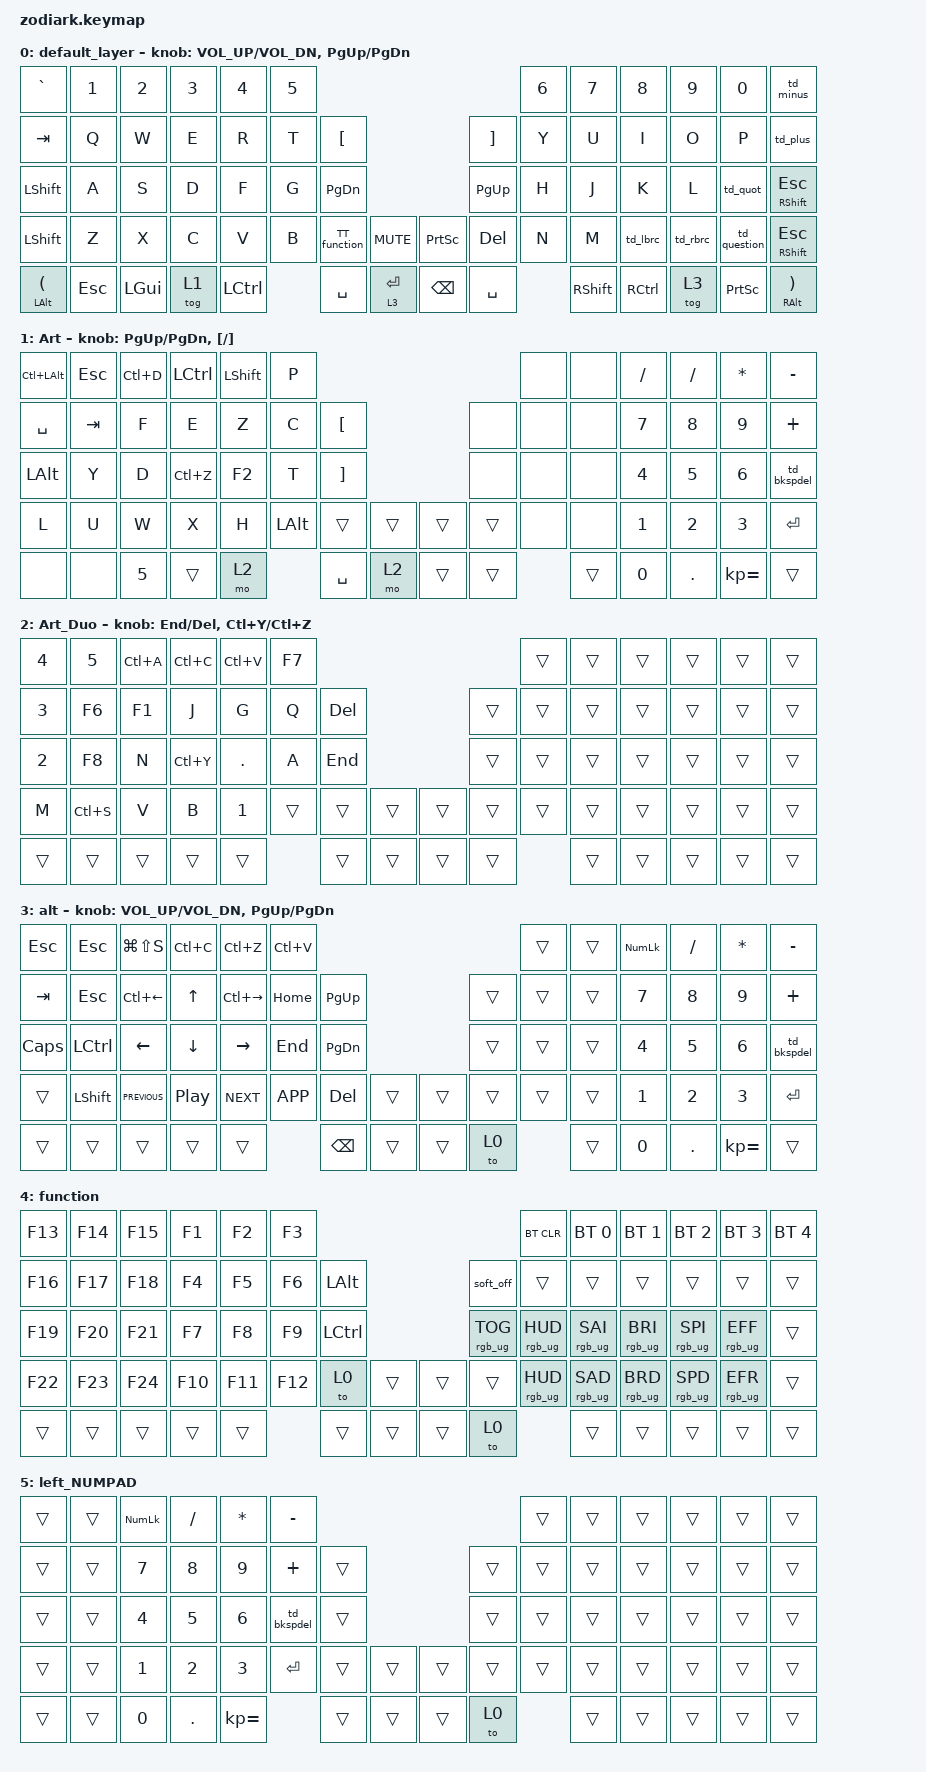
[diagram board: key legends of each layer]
/*
 * Copyright (c) 2020 The ZMK Contributors
 *
 * SPDX-License-Identifier: MIT
 */

#include <behaviors.dtsi>
#include <dt-bindings/zmk/bt.h>
#include <dt-bindings/zmk/keys.h>
#include <dt-bindings/zmk/rgb.h>

/ {
    combos {
        compatible = "zmk,combos";

        bkspDEL {
            bindings = <&kp DELETE>;
            key-positions = <64 63>;
        };

        leftNUMPAD {
            bindings = <&tog 4>;
            key-positions = <61 60>;
        };
    };

    behaviors {
        td_quot: td_quot {
            compatible = "zmk,behavior-tap-dance";
            label = "TD_QUOT";
            #binding-cells = <0>;
            bindings = <&kp SINGLE_QUOTE>, <&kp SEMICOLON>;

            tapping-term-ms = <150>;
        };

        td_lbrc: td_lbrc {
            compatible = "zmk,behavior-tap-dance";
            label = "TD_LBRC";
            #binding-cells = <0>;
            bindings = <&kp COMMA>, <&kp LEFT_BRACKET>;

            tapping-term-ms = <150>;
        };

        td_rbrc: td_rbrc {
            compatible = "zmk,behavior-tap-dance";
            label = "TD_RBRC";
            #binding-cells = <0>;
            bindings = <&kp PERIOD>, <&kp RIGHT_BRACKET>;

            tapping-term-ms = <150>;
        };

        td_minus: td_minus {
            compatible = "zmk,behavior-tap-dance";
            label = "TD_MINUS";
            #binding-cells = <0>;
            bindings = <&kp MINUS>, <&kp KP_DIVIDE>;

            tapping-term-ms = <150>;
        };

        td_plus: td_plus {
            compatible = "zmk,behavior-tap-dance";
            label = "TD_PLUS";
            #binding-cells = <0>;
            bindings = <&kp EQUAL>, <&kp KP_PLUS>;

            tapping-term-ms = <150>;
        };

        td_question: td_question {
            compatible = "zmk,behavior-tap-dance";
            label = "TD_QUESTION";
            #binding-cells = <0>;
            bindings = <&kp SLASH>, <&kp BACKSLASH>;

            tapping-term-ms = <150>;
        };

        TT_function: TT_function {
            compatible = "zmk,behavior-tap-dance";
            label = "TT_FUNCTION";
            #binding-cells = <0>;
            bindings = <&mo 4>, <&tog 4>;
        };

        td_bkspdel: td_bkspdel {
            compatible = "zmk,behavior-tap-dance";
            label = "TD_BKSPDEL";
            #binding-cells = <0>;
            bindings = <&kp BACKSPACE>, <&kp DELETE>;

            tapping-term-ms = <150>;
        };
    };

    keymap {
        compatible = "zmk,keymap";

        default_layer {
            // ------------------------------------------------------------------------------------------------------------
            // |  ESC  |  1  |  2  |  3   |  4   |  5   |                                  |  6   |  7    |  8    |  9   |   0   | BKSPC |
            // |  TAB  |  Q  |  W  |  E   |  R   |  T   |   [    |                 |   ]   |  Y   |  U    |  I    |  O   |   P   |   \   |
            // |  CAPS |  A  |  S  |  D   |  F   |  G   |   -    |                 |   =   |  H   |  J    |  K    |  L   |   ;   |   '   |
            // | SHIFT |  Z  |  X  |  C   |  V   |  B   |   `    | MUTE  | | PRNT  |  DEL  |  N   |  M    |  ,    |  .   |   /   | ENTER |
            // | CTRL  | ALT | GUI | MENU | LOWER|     SPACE     | ENTER | | ENTER |    SPACE     | RAISE| LEFT  | DOWN  |  UP   | RIGHT |

            bindings = <
&kp GRAVE                  &kp N1   &kp N2    &kp N3  &kp N4     &kp N5                                                     &kp N6  &kp N7     &kp N8     &kp N9    &kp N0           &td_minus
&kp TAB                    &kp Q    &kp W     &kp E   &kp R      &kp T   &kp LBKT                                &kp RBKT   &kp Y   &kp U      &kp I      &kp O     &kp P            &td_plus
&kp LSHFT                  &kp A    &kp S     &kp D   &kp F      &kp G   &kp PG_DN                               &kp PG_UP  &kp H   &kp J      &kp K      &kp L     &td_quot         &mt RIGHT_SHIFT ESCAPE
&kp LSHFT                  &kp Z    &kp X     &kp C   &kp V      &kp B   &TT_function  &kp C_MUTE     &kp PSCRN  &kp DEL    &kp N   &kp M      &td_lbrc   &td_rbrc  &td_question     &mt RIGHT_SHIFT ESC
&mt LALT LEFT_PARENTHESIS  &kp ESC  &kp LGUI  &tog 1  &kp LCTRL          &kp SPACE     &lt 3 ENTER    &kp BSPC   &kp SPACE          &kp RSHFT  &kp RCTRL  &tog 3    &kp PRINTSCREEN  &mt RIGHT_ALT RIGHT_PARENTHESIS
            >;

            sensor-bindings = <&inc_dec_kp C_VOL_UP C_VOL_DN &inc_dec_kp PG_UP PG_DN>;
        };

        Art {
            bindings = <
&kp LC(LALT)  &kp ESC  &kp LC(D)  &kp LCTRL  &kp LSHFT  &kp P                                          &none  &none   &kp FSLH  &kp FSLH  &kp STAR      &kp MINUS
&kp SPACE     &kp TAB  &kp F      &kp E      &kp Z      &kp C     &kp LBKT                     &none   &none  &none   &kp N7    &kp N8    &kp N9        &kp PLUS
&kp LALT      &kp Y    &kp D      &kp LC(Z)  &kp F2     &kp T     &kp RBKT                     &none   &none  &none   &kp N4    &kp N5    &kp N6        &td_bkspdel
&kp L         &kp U    &kp W      &kp X      &kp H      &kp LALT  &trans     &trans    &trans  &trans  &none  &none   &kp N1    &kp N2    &kp N3        &kp RET
&none         &none    &kp N5     &trans     &mo 2                &kp SPACE  &mo 2     &trans  &trans         &trans  &kp N0    &kp DOT   &kp KP_EQUAL  &trans
            >;

            sensor-bindings =
                <&inc_dec_kp PG_UP PAGE_DOWN>,
                <&inc_dec_kp LEFT_BRACKET RIGHT_BRACKET>;
        };

        Art_Duo {
            bindings = <
&kp N4  &kp N5     &kp LC(A)  &kp LC(C)  &kp LC(V)  &kp F7                                     &trans  &trans  &trans  &trans  &trans  &trans
&kp N3  &kp F6     &kp F1     &kp J      &kp G      &kp Q   &kp DEL                    &trans  &trans  &trans  &trans  &trans  &trans  &trans
&kp N2  &kp F8     &kp N      &kp LC(Y)  &kp DOT    &kp A   &kp END                    &trans  &trans  &trans  &trans  &trans  &trans  &trans
&kp M   &kp LC(S)  &kp V      &kp B      &kp N1     &trans  &trans   &trans    &trans  &trans  &trans  &trans  &trans  &trans  &trans  &trans
&trans  &trans     &trans     &trans     &trans             &trans   &trans    &trans  &trans          &trans  &trans  &trans  &trans  &trans
            >;

            sensor-bindings =
                <&inc_dec_kp END DELETE>,
                <&inc_dec_kp LC(Y) LC(Z)>;
        };

        alt {
            // ------------------------------------------------------------------------------------------------------------
            // |BTCLR  | BT1 | BT2 |  BT3 |  BT4 |  BT5 |                                  |      |       |       |      |       | RESET |
            // |       |     |     |      |      |      |        |                 |       |      |       |       |      |       |BLOADER|
            // |       |     |     |      |      |      |        |                 |       |      |       |       |      |       |       |
            // |       |     |     |      |      |      |        |       | |       |       |      |       |       |      |       |       |
            // |       |     |     |      |      |               |       | |       |              |       |       |      |       |       |

            bindings = <
&kp ESC   &kp ESC    &kp LG(LS(S))   &kp LC(C)         &kp LC(Z)      &kp LC(V)                                           &trans  &trans  &kp KP_NUMLOCK  &kp FSLH  &kp STAR      &kp MINUS
&kp TAB   &kp ESC    &kp LC(LEFT)    &kp UP            &kp LC(RIGHT)  &kp HOME   &kp PG_UP                        &trans  &trans  &trans  &kp N7          &kp N8    &kp N9        &kp PLUS
&kp CAPS  &kp LCTRL  &kp LEFT        &kp DOWN          &kp RIGHT      &kp END    &kp PAGE_DOWN                    &trans  &trans  &trans  &kp N4          &kp N5    &kp N6        &td_bkspdel
&trans    &kp LSHFT  &kp C_PREVIOUS  &kp C_PLAY_PAUSE  &kp C_NEXT     &kp K_APP  &kp DEL        &trans    &trans  &trans  &trans  &trans  &kp N1          &kp N2    &kp N3        &kp RET
&trans    &trans     &trans          &trans            &trans                    &kp BSPC       &trans    &trans  &to 0           &trans  &kp N0          &kp DOT   &kp KP_EQUAL  &trans
            >;

            sensor-bindings = <&inc_dec_kp C_VOL_UP C_VOL_DN &inc_dec_kp PG_UP PG_DN>;
        };

        function {
            bindings = <
&kp F13  &kp F14  &kp F15  &kp F1   &kp F2   &kp F3                                                        &bt BT_CLR       &bt BT_SEL 0     &bt BT_SEL 1     &bt BT_SEL 2     &bt BT_SEL 3     &bt BT_SEL 4
&kp F16  &kp F17  &kp F18  &kp F4   &kp F5   &kp F6   &kp LEFT_ALT                        &soft_off        &trans           &trans           &trans           &trans           &trans           &trans
&kp F19  &kp F20  &kp F21  &kp F7   &kp F8   &kp F9   &kp LEFT_CONTROL                    &rgb_ug RGB_TOG  &rgb_ug RGB_HUD  &rgb_ug RGB_SAI  &rgb_ug RGB_BRI  &rgb_ug RGB_SPI  &rgb_ug RGB_EFF  &trans
&kp F22  &kp F23  &kp F24  &kp F10  &kp F11  &kp F12  &to 0             &trans    &trans  &trans           &rgb_ug RGB_HUD  &rgb_ug RGB_SAD  &rgb_ug RGB_BRD  &rgb_ug RGB_SPD  &rgb_ug RGB_EFR  &trans
&trans   &trans   &trans   &trans   &trans            &trans            &trans    &trans  &to 0                             &trans           &trans           &trans           &trans           &trans
            >;
        };

        left_NUMPAD {
            bindings = <
&trans  &trans  &kp KP_NUMLOCK  &kp FSLH  &kp STAR      &kp MINUS                                      &trans  &trans  &trans  &trans  &trans  &trans
&trans  &trans  &kp N7          &kp N8    &kp N9        &kp PLUS     &trans                    &trans  &trans  &trans  &trans  &trans  &trans  &trans
&trans  &trans  &kp N4          &kp N5    &kp N6        &td_bkspdel  &trans                    &trans  &trans  &trans  &trans  &trans  &trans  &trans
&trans  &trans  &kp N1          &kp N2    &kp N3        &kp RET      &trans  &trans    &trans  &trans  &trans  &trans  &trans  &trans  &trans  &trans
&trans  &trans  &kp N0          &kp DOT   &kp KP_EQUAL               &trans  &trans    &trans  &to 0           &trans  &trans  &trans  &trans  &trans
            >;
        };
    };
};
